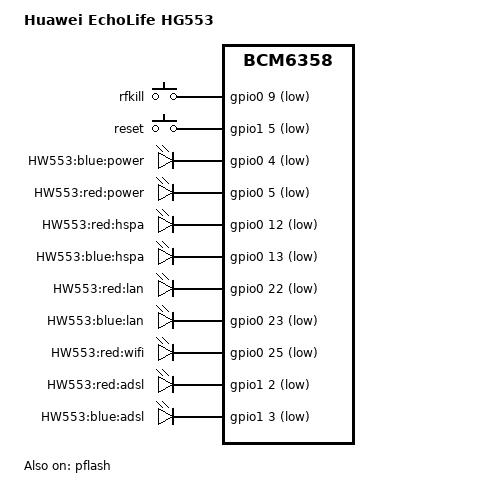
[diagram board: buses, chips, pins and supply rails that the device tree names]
/dts-v1/;

#include "bcm6358.dtsi"

#include <dt-bindings/input/input.h>

/ {
	model = "Huawei EchoLife HG553";
	compatible = "huawei,hg553", "brcm,bcm6358";

	gpio-keys-polled {
		compatible = "gpio-keys-polled";
		#address-cells = <1>;
		#size-cells = <0>;
		poll-interval = <20>;
		debounce-interval = <60>;

		rfkill {
			label = "rfkill";
			gpios = <&gpio0 9 1>;
			linux,code = <KEY_RFKILL>;
		};

		reset {
			label = "reset";
			gpios = <&gpio1 5 1>;
			linux,code = <KEY_RESTART>;
		};
	};

	gpio-leds {
		compatible = "gpio-leds";

		power_green {
			label = "HW553:blue:power";
			gpios = <&gpio0 4 1>;
			default-state = "on";
		};
		power_red {
			label = "HW553:red:power";
			gpios = <&gpio0 5 1>;
		};
		hspa_red {
			label = "HW553:red:hspa";
			gpios = <&gpio0 12 1>;
		};
		hspa_blue {
			label = "HW553:blue:hspa";
			gpios = <&gpio0 13 1>;
		};
		lan_red {
			label = "HW553:red:lan";
			gpios = <&gpio0 22 1>;
		};
		lan_blue {
			label = "HW553:blue:lan";
			gpios = <&gpio0 23 1>;
		};
		wifi_red {
			label = "HW553:red:wifi";
			gpios = <&gpio0 25 1>;
		};
		dsl_red {
			label = "HW553:red:adsl";
			gpios = <&gpio1 2 1>;
		};
		dsl_blue {
			label = "HW553:blue:adsl";
			gpios = <&gpio1 3 1>;
		};
	};
};

&pflash {
	status = "ok";

	linux,part-probe = "bcm63xxpart";

	cfe@0 {
		label = "CFE";
		reg = <0x000000 0x020000>;
		read-only;
	};

	linux@20000 {
		label = "linux";
		reg = <0x020000 0xfc0000>;
	};

	nvram@fe0000 {
		label = "nvram";
		reg = <0xfe0000 0x020000>;
	};
};
